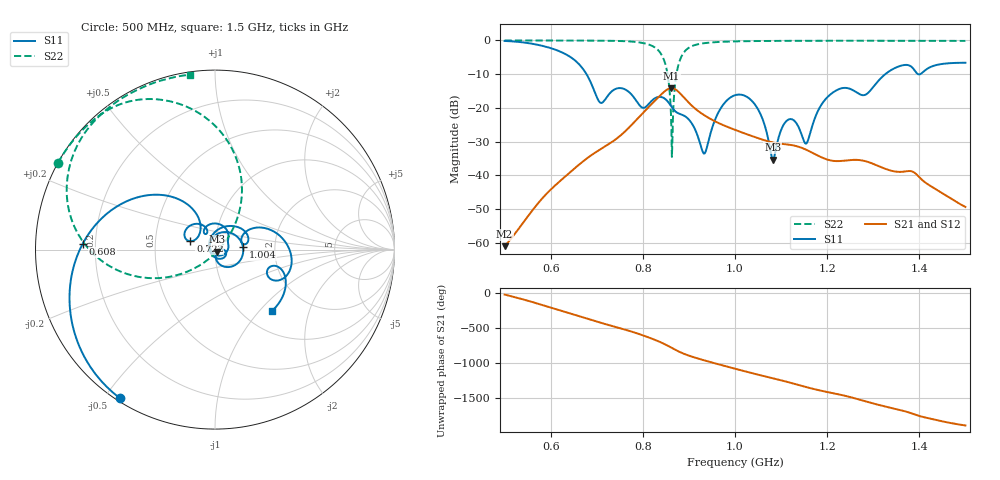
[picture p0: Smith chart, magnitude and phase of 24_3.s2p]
! TOUCHSTONE file generated by CST MICROWAVE STUDIO
! Date and time: Fri Oct  2 16:37:27 2020
! Project name: Scenario_1_Free_Space_out_of_line.cst
! Parameters = {Lambda=346.42; Step_1=17.321; dy1=-51.203; dx1=520; L_HA=400; MT=2.54; Rad_Dielectric=30; Rad_Lower=7.3; Rad_Upper=30; a_HA=580; a_WG=246; b_HA=500; b_WG=121; c_HA=0; c_WG=187; d_feed=85; h_feed=15; h_lower=18; h_upper=40}
! Header version: 2018
! Port assignment regex: !\s*Touchstone port\s*([0-9]+)\s*=\s*(CST MWS port|CST DS port)\s*([0-9]+|Zmin|Zmax)\s*\(\"(.*)\"\)(\s*mode\s*([0-9]+))?.*
! Touchstone port assignment:
! Touchstone port 1 = CST MWS port 1 ("")
! Touchstone port 2 = CST MWS port 2 ("")
# GHz S DB R 50
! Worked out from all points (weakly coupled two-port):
!   1003 points, 500 MHz to 1.5 GHz, reference 50 ohm
!   highest |S21| = -14.15 dB at 862 MHz (marker M1); lowest = -61.0 dB at 500 MHz (marker M2)
!   lowest |S11| = -35.3 dB at 1.082 GHz (marker M3), VSWR 1.03, Z = 51.3 - j1.17 ohm
!   |S11| at or under -10 dB: 677.7 MHz to 1.326 GHz (648.5 MHz wide, 64.7 % of centre); 1.397124 GHz to 1.401965 GHz (4.841 MHz wide, 0.346 % of centre)
!   |S22| runs from -34.5 to 0.0 dB; largest |S21 - S12| = 5.5e-06
!   S11 on the Smith chart (normalised r, x): 500 MHz: 0.01, -0.55; 608 MHz: 0.15, +0.02; 722 MHz: 0.76, +0.07; 1.004 GHz: 1.37, +0.04; 1.5 GHz: 1.34, -1.17
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0.5  -0.15 -122.4  -61.00 -17.5  -61.00 -17.5  -0.01 151.1
0.608  -2.64 177.5  -43.20 138.4  -43.20 138.5  -0.02 143.5
0.667  -7.90 131.7  -36.21 21.1  -36.21 21.1  -0.04 138.4
0.705  -18.10 133.0  -32.53 -56.4  -32.53 -56.4  -0.07 134.3
0.722  -16.77 161.2  -31.10 -89.5  -31.10 -89.5  -0.10 132.1
0.834  -16.75 95.9  -16.80 29.0  -16.80 29.0  -3.00 91.5
0.851  -17.66 62.5  -14.71 -23.6  -14.71 -23.6  -8.18 67.4
0.862  -19.59 44.1  -14.15 -62.6  -14.15 -62.6  -26.44 29.5
0.884  -21.97 20.6  -16.16 -136.2  -16.16 -136.2  -4.70 -170.1
0.933  -33.56 -142.9  -22.15 115.8  -22.15 115.8  -0.82 154.7
0.966  -20.82 79.0  -24.60 55.3  -24.60 55.3  -0.45 146.3
1  -16.24 12.2  -26.51 -5.0  -26.51 -5.0  -0.28 140.7
1.004  -16.11 4.9  -26.71 -12.0  -26.71 -12.0  -0.27 140.2
1.049  -20.19 -67.0  -28.93 -89.1  -28.93 -89.1  -0.18 134.8
1.082  -35.32 -41.9  -30.25 -142.5  -30.25 -142.5  -0.14 131.6
1.114  -23.62 -19.0  -30.85 164.2  -30.85 164.2  -0.12 128.7
1.153  -30.56 -150.1  -32.31 93.2  -32.31 93.2  -0.10 125.5
1.167  -25.64 127.8  -33.25 69.2  -33.25 69.2  -0.10 124.4
1.211  -15.59 51.9  -35.67 5.4  -35.67 5.4  -0.09 121.0
1.282  -16.15 20.0  -35.77 -112.4  -35.77 -112.4  -0.09 115.6
1.334  -9.20 16.4  -38.43 158.5  -38.43 158.6  -0.09 111.6
1.5  -6.62 -47.1  -49.37 -101.7  -49.38 -101.7  -0.14 98.1
